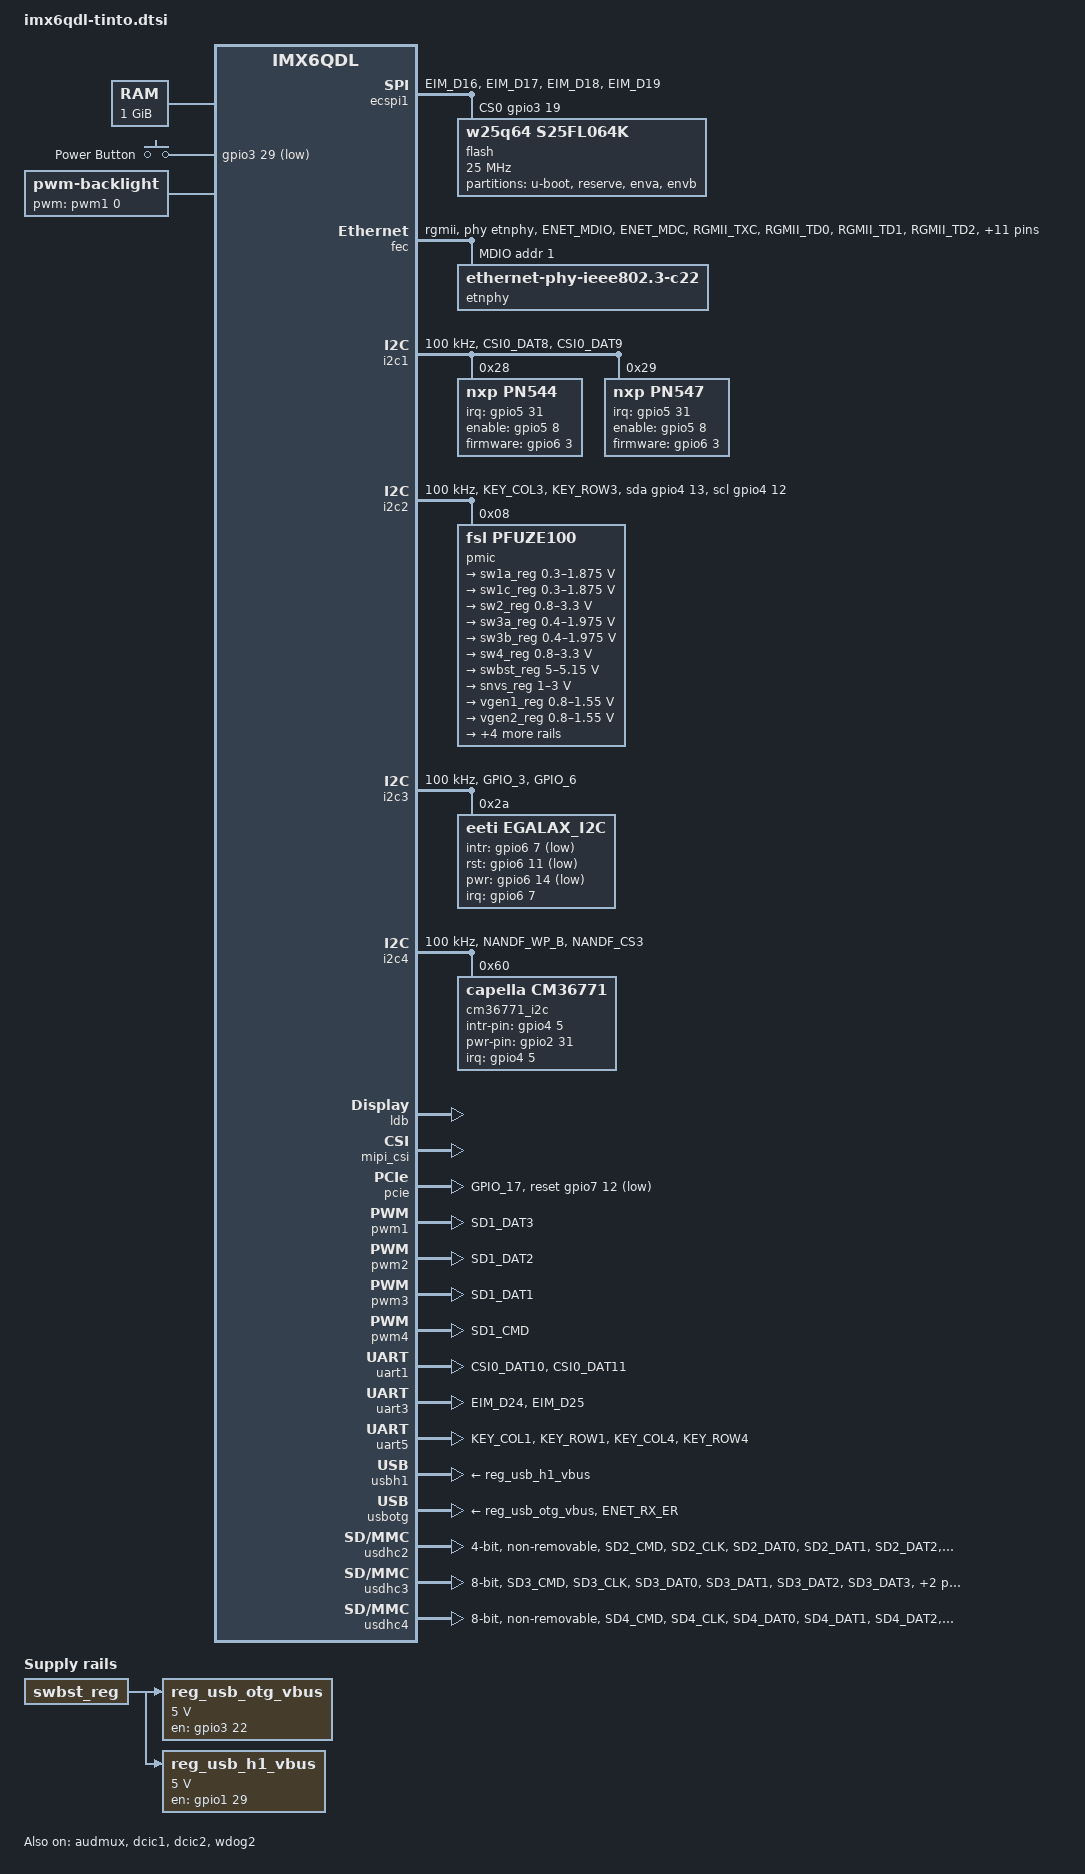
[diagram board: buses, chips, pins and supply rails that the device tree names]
/*
 * Copyright 2012-2016 Freescale Semiconductor, Inc.
 * Copyright 2011 Linaro Ltd.
 * Copyright 2017 NXP.
 *
 * The code contained herein is licensed under the GNU General Public
 * License. You may obtain a copy of the GNU General Public License
 * Version 2 or later at the following locations:
 *
 * http://www.opensource.org/licenses/gpl-license.html
 * http://www.gnu.org/copyleft/gpl.html
 */

#include <dt-bindings/gpio/gpio.h>
#include <dt-bindings/input/input.h>

/ {
	aliases {
		mxcfb0 = &mxcfb1;
		mxcfb1 = &mxcfb2;
		mxcfb2 = &mxcfb3;
		mxcfb3 = &mxcfb4;
		pn544  = &pn544;
                pn547  = &pn547;

	};

	chosen {
		stdout-path = &uart1;
	};

	memory: memory {
		reg = <0x10000000 0x40000000>;
	};

	regulators {
		compatible = "simple-bus";
		#address-cells = <1>;
		#size-cells = <0>;

		reg_usb_otg_vbus: regulator@0 {
			compatible = "regulator-fixed";
			reg = <0>;
			regulator-name = "usb_otg_vbus";
			regulator-min-microvolt = <5000000>;
			regulator-max-microvolt = <5000000>;
			gpio = <&gpio3 22 0>;
			enable-active-high;
			vin-supply = <&swbst_reg>;
		};

		reg_usb_h1_vbus: regulator@1 {
			compatible = "regulator-fixed";
			reg = <1>;
			regulator-name = "usb_h1_vbus";
			regulator-min-microvolt = <5000000>;
			regulator-max-microvolt = <5000000>;
			gpio = <&gpio1 29 0>;
			enable-active-high;
			vin-supply = <&swbst_reg>;
		};
	};

	gpio-keys {
		compatible = "gpio-keys";
		pinctrl-names = "default";
		pinctrl-0 = <&pinctrl_gpio_keys>;

		power {
			label = "Power Button";
			gpios = <&gpio3 29 GPIO_ACTIVE_LOW>;
			wakeup-source;
			linux,code = <KEY_POWER>;
		};
	};

	mxcfb1: fb@0 {
		compatible = "fsl,mxc_sdc_fb";
		disp_dev = "ldb";
		interface_pix_fmt = "RGB666";
		default_bpp = <16>;
		int_clk = <0>;
		late_init = <0>;
		status = "disabled";
	};

	mxcfb2: fb@1 {
		compatible = "fsl,mxc_sdc_fb";
		disp_dev = "hdmi";
		interface_pix_fmt = "RGB24";
		mode_str ="1920x1080M@60";
		default_bpp = <24>;
		int_clk = <0>;
		late_init = <0>;
		status = "disabled";
	};

	mxcfb3: fb@2 {
		compatible = "fsl,mxc_sdc_fb";
		disp_dev = "lcd";
		interface_pix_fmt = "RGB565";
		mode_str ="CLAA-WVGA";
		default_bpp = <16>;
		int_clk = <0>;
		late_init = <0>;
		status = "disabled";
	};

	mxcfb4: fb@3 {
		compatible = "fsl,mxc_sdc_fb";
		disp_dev = "ldb";
		interface_pix_fmt = "RGB666";
		default_bpp = <16>;
		int_clk = <0>;
		late_init = <0>;
		status = "disabled";
	};

        backlight {
                compatible = "pwm-backlight";
                pwms = <&pwm1 0 100000>; /* TI driver need range between 5k to 100k, set as 10k */
                brightness-levels = <0 4 8 16 32 64 128 255>;
                default-brightness-level = <7>;
                status = "okay";
        };

	v4l2_cap_0 {
		compatible = "fsl,imx6q-v4l2-capture";
		ipu_id = <0>;
		csi_id = <0>;
		mclk_source = <0>;
		status = "okay";
	};

	v4l2_cap_1 {
		compatible = "fsl,imx6q-v4l2-capture";
		ipu_id = <0>;
		csi_id = <1>;
		mclk_source = <0>;
		status = "okay";
	};

	v4l2_out {
		compatible = "fsl,mxc_v4l2_output";
		status = "okay";
	};
};

&audmux {
	pinctrl-names = "default";
	pinctrl-0 = <&pinctrl_audmux>;
	status = "okay";
};

&clks {
	assigned-clocks = <&clks IMX6QDL_CLK_LDB_DI0_SEL>,
			  <&clks IMX6QDL_CLK_LDB_DI1_SEL>;
	assigned-clock-parents = <&clks IMX6QDL_CLK_PLL2_PFD0_352M>,
				 <&clks IMX6QDL_CLK_PLL2_PFD0_352M>;
};

&clks {
};

&ecspi1 {
	fsl,spi-num-chipselects = <1>;
	cs-gpios = <&gpio3 19 0>;
	pinctrl-names = "default";
	pinctrl-0 = <&pinctrl_ecspi1>;
	status = "okay";

	flash: m25p80@0 {
		#address-cells = <1>;
		#size-cells = <1>;
		compatible = "w25q64,s25fl064k";
		spi-max-frequency = <25000000>;
		reg = <0>;

		partition@0 {
			label = "u-boot";
			reg = <0x00000000 0x00080000>;
		};
		partition@80000 {
			label = "reserve";
			reg = <0x00080000 0x00080000>;
		};

        partition@100000 {
			label = "enva";
			reg = <0x00100000 0x00010000>;
		};

		partition@110000 {
			label = "envb";
			reg = <0x00110000 0x00010000>;
		};
	};
};

&fec {
	pinctrl-names = "default";
	pinctrl-0 = <&pinctrl_enet>;
	phy-mode = "rgmii";
	phy-reset-gpios = <&gpio1 25 0>;
	fsl,magic-packet;
	status = "okay";
        phy-handle = <&etnphy>;
        mdio {
                #address-cells = <1>;
                #size-cells = <0>;
                etnphy: ethernet-phy@0 {
                        compatible = "ethernet-phy-ieee802.3-c22";
                        reg = <1>;
                        max-speed = <1000>;
                        };
        };

};

&gpc {
	fsl,ldo-bypass = <1>;
};

&dcic1 {
	dcic_id = <0>;
	dcic_mux = "dcic-hdmi";
	status = "okay";
};

&dcic2 {
	dcic_id = <1>;
	dcic_mux = "dcic-lvds1";
	status = "okay";
};

&i2c1 {
	clock-frequency = <100000>;
	pinctrl-names = "default";
	pinctrl-0 = <&pinctrl_i2c1>;
	status = "okay";

        /* nfc */
        pn544: nxp_pn544@28 {
                compatible = "nxp,pn544";
                reg = <0x28>;
                interrupt-parent = <&gpio5>;
                interrupts = <31 GPIO_ACTIVE_HIGH>;
                irq-gpios = <&gpio5 31 IRQ_TYPE_EDGE_RISING>;
                enable-gpios = <&gpio5 8 GPIO_ACTIVE_HIGH>;
                firmware-gpios = <&gpio6 3 GPIO_ACTIVE_HIGH>;
                status = "okay";
               };

        pn547: pn547@29 {
                compatible = "nxp,pn547";
                reg = <0x29>;
                /* clock-frequency = <400000>; */
                interrupt-parnet=<&gpio5>;
                interrupts = <31 GPIO_ACTIVE_HIGH>;
                /* interrupts = <&gpio5 31 IRQ_TYPE_EDGE_RISING>; */
                irq-gpios = <&gpio5 31 IRQ_TYPE_EDGE_RISING>;
                enable-gpios = <&gpio5 8 GPIO_ACTIVE_HIGH>; /* ven & pwr */
	        firmware-gpios = <&gpio6 3 GPIO_ACTIVE_HIGH>;
                /* power GPIO1_IO5 */
                /* status = "disabled"; */
                status = "okay";
        };

};

&i2c2 {
	clock-frequency = <100000>;
	pinctrl-names = "default", "gpio";
	pinctrl-0 = <&pinctrl_i2c2>;
	pinctrl-1 = <&pinctrl_i2c2_gpio>;
	scl-gpios = <&gpio4 12 GPIO_ACTIVE_HIGH>;
	sda-gpios = <&gpio4 13 GPIO_ACTIVE_HIGH>;
	status = "okay";
	
	pmic: pfuze100@08 {
		compatible = "fsl,pfuze100";
		reg = <0x08>;

		regulators {
			sw1a_reg: sw1ab {
				regulator-min-microvolt = <300000>;
				regulator-max-microvolt = <1875000>;
				regulator-boot-on;
				regulator-always-on;
				regulator-ramp-delay = <6250>;
			};

			sw1c_reg: sw1c {
				regulator-min-microvolt = <300000>;
				regulator-max-microvolt = <1875000>;
				regulator-boot-on;
				regulator-always-on;
				regulator-ramp-delay = <6250>;
			};

			sw2_reg: sw2 {
				regulator-min-microvolt = <800000>;
				regulator-max-microvolt = <3300000>;
				regulator-boot-on;
				regulator-always-on;
				regulator-ramp-delay = <6250>;
			};

			sw3a_reg: sw3a {
				regulator-min-microvolt = <400000>;
				regulator-max-microvolt = <1975000>;
				regulator-boot-on;
				regulator-always-on;
			};

			sw3b_reg: sw3b {
				regulator-min-microvolt = <400000>;
				regulator-max-microvolt = <1975000>;
				regulator-boot-on;
				regulator-always-on;
			};

			sw4_reg: sw4 {
				regulator-min-microvolt = <800000>;
				regulator-max-microvolt = <3300000>;
				regulator-always-on;
			};

			swbst_reg: swbst {
				regulator-min-microvolt = <5000000>;
				regulator-max-microvolt = <5150000>;
			};

			snvs_reg: vsnvs {
				regulator-min-microvolt = <1000000>;
				regulator-max-microvolt = <3000000>;
				regulator-boot-on;
				regulator-always-on;
			};

			vref_reg: vrefddr {
				regulator-boot-on;
				regulator-always-on;
			};

			vgen1_reg: vgen1 {
				regulator-min-microvolt = <800000>;
				regulator-max-microvolt = <1550000>;
			};

			vgen2_reg: vgen2 {
				regulator-min-microvolt = <800000>;
				regulator-max-microvolt = <1550000>;
			};

			vgen3_reg: vgen3 {
				regulator-min-microvolt = <1800000>;
				regulator-max-microvolt = <3300000>;
			};

			vgen4_reg: vgen4 {
				regulator-min-microvolt = <1800000>;
				regulator-max-microvolt = <3300000>;
				regulator-always-on;
			};

			vgen5_reg: vgen5 {
				regulator-min-microvolt = <1800000>;
				regulator-max-microvolt = <3300000>;
				regulator-always-on;
			};

			vgen6_reg: vgen6 {
				regulator-min-microvolt = <1800000>;
				regulator-max-microvolt = <3300000>;
				regulator-always-on;
			};
		};
	};
};

&i2c3 {
	clock-frequency = <100000>;
	pinctrl-names = "default";
	pinctrl-0 = <&pinctrl_i2c3>;
	status = "okay";

        egalax_i2c@2a {
                compatible = "eeti,egalax_i2c";
                reg = <0x2a>;
                interrupt-parent = <&gpio6>;
                interrupts = <7 IRQ_TYPE_EDGE_FALLING>;
                intr-gpio = <&gpio6 7 1>;
                rst-gpio = <&gpio6 11 1>;
                pwr-gpio = <&gpio6 14 1>;

        };
};

&i2c4 {
        clock-frequency = <100000>;
        pinctrl-names = "default";
        pinctrl-0 = <&pinctrl_i2c4>;
        status = "okay";

        cm36771_i2c@60 {
                compatible = "capella,cm36771";
                reg = <0x60>;
                interrupt-parent = <&gpio4>;
                interrupts = <5 2>;
                intr-pin = <&gpio4 5 0>;
                pwr-pin = <&gpio2 31 0>;
        };
};

&iomuxc {
	pinctrl-names = "default";
	pinctrl-0 = <&pinctrl_hog>;

	imx6qdl-sabresd {
		pinctrl_hog: hoggrp {
			fsl,pins = <
                                MX6QDL_PAD_SD3_DAT4__GPIO7_IO01         0x80000000 // TP14
                                MX6QDL_PAD_SD3_DAT5__GPIO7_IO00         0x80000000 // TP15
                                MX6QDL_PAD_SD3_DAT6__GPIO6_IO18         0x80000000 // TP13
                                MX6QDL_PAD_SD3_DAT7__GPIO6_IO17         0x80000000 // TP16
                                MX6QDL_PAD_SD3_RST__GPIO7_IO08          0x80000000 // TP18
                                MX6QDL_PAD_ENET_TXD1__GPIO1_IO29        0x80000000 // USB_H1_PWR_EN
                                MX6QDL_PAD_ENET_CRS_DV__GPIO1_IO25      0x80000000 // RGMII_nRST
                                MX6QDL_PAD_KEY_COL0__GPIO4_IO06         0x80000000 // BT_WAKUP_B
                                MX6QDL_PAD_KEY_ROW0__GPIO4_IO07         0x80000000 // TP12
                                MX6QDL_PAD_KEY_COL2__GPIO4_IO10         0x80000000 // LCD_STBYB
                                MX6QDL_PAD_KEY_ROW2__GPIO4_IO11         0x80000000 // BT_RESET
                                MX6QDL_PAD_GPIO_0__CCM_CLKO1            0x130b0
                                MX6QDL_PAD_GPIO_2__GPIO1_IO02           0x80000000 // BT_HOST_WAKEUP_B
                                MX6QDL_PAD_GPIO_4__GPIO1_IO04           0x80000000 // WLAN_PWREN#
                                MX6QDL_PAD_GPIO_5__GPIO1_IO05           0x80000000 // NFC_PWREN
                                MX6QDL_PAD_GPIO_7__GPIO1_IO07           0x80000000 // LED_GREEN
                                MX6QDL_PAD_GPIO_8__GPIO1_IO08           0x80000000 // LED_RED
                                MX6QDL_PAD_GPIO_9__GPIO1_IO09           0x80000000 // LED_YELLOW
                                MX6QDL_PAD_GPIO_17__GPIO7_IO12          0x80000000 // WL_RESET
                                MX6QDL_PAD_GPIO_18__GPIO7_IO13          0x80000000 // PMIC_INT_B
                                MX6QDL_PAD_GPIO_19__GPIO4_IO05          0x80000000 // SENSOR_INT
                                MX6QDL_PAD_NANDF_CS0__GPIO6_IO11        0x80000000 // TOUCH_RST
                                MX6QDL_PAD_NANDF_CS1__GPIO6_IO14        0x80000000 // TOUCH_EN
                                MX6QDL_PAD_NANDF_CS2__GPIO6_IO15        0x80000000 // TOUCH_MODE_SW
                                MX6QDL_PAD_NANDF_ALE__GPIO6_IO08        0x80000000 // LCD_APWR_EN
                                MX6QDL_PAD_NANDF_CLE__GPIO6_IO07        0x80000000 // TOUCH_INT
                                MX6QDL_PAD_NANDF_RB0__GPIO6_IO10        0x80000000 // AUX_5V_EN
                                MX6QDL_PAD_NANDF_D0__GPIO2_IO00         0x80000000 // SD3_CD_B
                                MX6QDL_PAD_NANDF_D1__GPIO2_IO01         0x80000000 // SD3_WP
                                MX6QDL_PAD_NANDF_D2__GPIO2_IO02         0x80000000 // SD2_CD_B
                                MX6QDL_PAD_NANDF_D3__GPIO2_IO03         0x80000000 // SD2_WP
                                MX6QDL_PAD_NANDF_D4__GPIO2_IO04         0x80000000 // TP51
                                MX6QDL_PAD_NANDF_D5__GPIO2_IO05         0X80000000 // TP49
                                MX6QDL_PAD_NANDF_D6__GPIO2_IO06         0x80000000 // TP19
                                MX6QDL_PAD_NANDF_D7__GPIO2_IO07         0x80000000 // TP50
                                MX6QDL_PAD_CSI0_DATA_EN__GPIO5_IO20     0x80000000 // WIFI_AWAKE_B
                                MX6QDL_PAD_CSI0_DAT13__GPIO5_IO31       0x80000000 // NFC_IRQ
                                MX6QDL_PAD_CSI0_DAT17__GPIO6_IO03       0x80000000 // NFC_FW_UG
                                MX6QDL_PAD_CSI0_DAT19__GPIO6_IO05       0x80000000 // TP39
                                MX6QDL_PAD_EIM_D22__GPIO3_IO22          0x80000000 // USB_OTG_PWR_EN
                                MX6QDL_PAD_EIM_D30__USB_H1_OC           0x80000000 // USB_OTG_OC
                                MX6QDL_PAD_EIM_EB3__GPIO2_IO31          0x80000000 // SENSOR_PWR_EN
                                MX6QDL_PAD_DISP0_DAT18__GPIO5_IO12      0x80000000 // SPINOR_WP
                                MX6QDL_PAD_DISP0_DAT14__GPIO5_IO08      0x80000000 // NFC_VEN
                                MX6QDL_PAD_DISP0_DAT17__GPIO5_IO11      0x80000000 // BOARD_ID0
                                MX6QDL_PAD_DISP0_DAT22__GPIO5_IO16      0x80000000 // BOARD_ID1
                                MX6QDL_PAD_DISP0_DAT23__GPIO5_IO17      0x80000000 // BOARD_ID2

			>;
		};

		pinctrl_audmux: audmuxgrp {
			fsl,pins = <
				MX6QDL_PAD_CSI0_DAT7__AUD3_RXD		0x130b0
				MX6QDL_PAD_CSI0_DAT4__AUD3_TXC		0x130b0
				MX6QDL_PAD_CSI0_DAT5__AUD3_TXD		0x110b0
				MX6QDL_PAD_CSI0_DAT6__AUD3_TXFS		0x130b0
			>;
		};

		pinctrl_ecspi1: ecspi1grp {
			fsl,pins = <
                                MX6QDL_PAD_EIM_D16__ECSPI1_SCLK         0x100b1
                                MX6QDL_PAD_EIM_D17__ECSPI1_MISO         0x100b1
                                MX6QDL_PAD_EIM_D18__ECSPI1_MOSI         0x100b1
				MX6QDL_PAD_EIM_D19__GPIO3_IO19          0x100b1 // ECSPI1_SS1
			>;
		};

		pinctrl_enet: enetgrp {
			fsl,pins = <
				MX6QDL_PAD_ENET_MDIO__ENET_MDIO		0x1b0b0
				MX6QDL_PAD_ENET_MDC__ENET_MDC		0x1b0b0
				MX6QDL_PAD_RGMII_TXC__RGMII_TXC		0x1b030
				MX6QDL_PAD_RGMII_TD0__RGMII_TD0		0x1b030
				MX6QDL_PAD_RGMII_TD1__RGMII_TD1		0x1b030
				MX6QDL_PAD_RGMII_TD2__RGMII_TD2		0x1b030
				MX6QDL_PAD_RGMII_TD3__RGMII_TD3		0x1b030
				MX6QDL_PAD_RGMII_TX_CTL__RGMII_TX_CTL	0x1b030
				MX6QDL_PAD_ENET_REF_CLK__ENET_TX_CLK	0x1b0b0
				MX6QDL_PAD_RGMII_RXC__RGMII_RXC		0x1b030
				MX6QDL_PAD_RGMII_RD0__RGMII_RD0		0x1b030
				MX6QDL_PAD_RGMII_RD1__RGMII_RD1		0x1b030
				MX6QDL_PAD_RGMII_RD2__RGMII_RD2		0x1b030
				MX6QDL_PAD_RGMII_RD3__RGMII_RD3		0x1b030
				MX6QDL_PAD_RGMII_RX_CTL__RGMII_RX_CTL	0x1b030
				MX6QDL_PAD_GPIO_16__ENET_REF_CLK	0x4001b0a8
			>;
		};

		pinctrl_enet_irq: enetirqgrp {
			fsl,pins = <
				MX6QDL_PAD_GPIO_6__ENET_IRQ		0x000b1
			>;
		};

		pinctrl_gpio_keys: gpio_keysgrp {
			fsl,pins = <
				MX6QDL_PAD_EIM_D29__GPIO3_IO29 0x1b0b0
			>;
		};

		pinctrl_i2c1: i2c1grp {
			fsl,pins = <
				MX6QDL_PAD_CSI0_DAT8__I2C1_SDA		0x4001b8b1
				MX6QDL_PAD_CSI0_DAT9__I2C1_SCL		0x4001b8b1
			>;
		};

		pinctrl_i2c2: i2c2grp {
			fsl,pins = <
				MX6QDL_PAD_KEY_COL3__I2C2_SCL		0x4001b8b1
				MX6QDL_PAD_KEY_ROW3__I2C2_SDA		0x4001b8b1
			>;
		};

		pinctrl_i2c2_gpio: i2c2_gpio_grp {
			fsl,pins = <
				MX6QDL_PAD_KEY_COL3__GPIO4_IO12		0x1b0b0
				MX6QDL_PAD_KEY_ROW3__GPIO4_IO13		0x1b0b0
			>;
		};

		pinctrl_i2c3: i2c3grp {
			fsl,pins = <
				MX6QDL_PAD_GPIO_3__I2C3_SCL		0x4001b8b1
				MX6QDL_PAD_GPIO_6__I2C3_SDA		0x4001b8b1
			>;
		};

                pinctrl_i2c4: i2c4grp {
                        fsl,pins = <
                                MX6QDL_PAD_NANDF_WP_B__I2C4_SCL         0x4001b8b1
                                MX6QDL_PAD_NANDF_CS3__I2C4_SDA          0x4001b8b1
                        >;
                };

		pinctrl_pcie: pciegrp {
			fsl,pins = <
				MX6QDL_PAD_GPIO_17__GPIO7_IO12	0x1b0b0
			>;
		};

		pinctrl_pwm1: pwm1grp {
			fsl,pins = <
				MX6QDL_PAD_SD1_DAT3__PWM1_OUT		0x1b0b1
			>;
		};

               /* for green led */
                pinctrl_pwm2: pwm2grp {
                        fsl,pins = <
                                MX6QDL_PAD_SD1_DAT2__PWM2_OUT           0x1b0b1
                        >;
                };

                /* for red led */
                pinctrl_pwm3: pwm3grp {
                        fsl,pins = <
                                MX6QDL_PAD_SD1_DAT1__PWM3_OUT           0x1b0b1
                        >;
                };

                /* for white led */
                pinctrl_pwm4: pwm4grp {
                        fsl,pins = <
                                MX6QDL_PAD_SD1_CMD__PWM4_OUT            0x1b0b1
                        >;
                };

		pinctrl_uart1: uart1grp {
			fsl,pins = <
				MX6QDL_PAD_CSI0_DAT10__UART1_TX_DATA	0x1b0b1
				MX6QDL_PAD_CSI0_DAT11__UART1_RX_DATA	0x1b0b1
			>;
		};

                pinctrl_uart3: uart3grp {
                        fsl,pins = <
                                MX6QDL_PAD_EIM_D24__UART3_TX_DATA       0x1b0b1
                                MX6QDL_PAD_EIM_D25__UART3_RX_DATA       0x1b0b1
                        >;
                };

                pinctrl_uart5: uart5grp {
                        fsl,pins = <
                                MX6QDL_PAD_KEY_COL1__UART5_TX_DATA      0x1b0b1
                                MX6QDL_PAD_KEY_ROW1__UART5_RX_DATA      0x1b0b1
                                MX6QDL_PAD_KEY_COL4__UART5_RTS_B        0x1b0b1
                                MX6QDL_PAD_KEY_ROW4__UART5_CTS_B        0x1b0b1
                        >;
                };

		pinctrl_usbotg: usbotggrp {
			fsl,pins = <
				MX6QDL_PAD_ENET_RX_ER__USB_OTG_ID	0x17059
			>;
		};

		pinctrl_usdhc2: usdhc2grp {
			fsl,pins = <
				MX6QDL_PAD_SD2_CMD__SD2_CMD		0x17059
				MX6QDL_PAD_SD2_CLK__SD2_CLK		0x10059
				MX6QDL_PAD_SD2_DAT0__SD2_DATA0		0x17059
				MX6QDL_PAD_SD2_DAT1__SD2_DATA1		0x17059
				MX6QDL_PAD_SD2_DAT2__SD2_DATA2		0x17059
				MX6QDL_PAD_SD2_DAT3__SD2_DATA3		0x17059
			>;
		};

		pinctrl_usdhc3: usdhc3grp {
			fsl,pins = <
				MX6QDL_PAD_SD3_CMD__SD3_CMD		0x17059
				MX6QDL_PAD_SD3_CLK__SD3_CLK		0x10059
				MX6QDL_PAD_SD3_DAT0__SD3_DATA0		0x17059
				MX6QDL_PAD_SD3_DAT1__SD3_DATA1		0x17059
				MX6QDL_PAD_SD3_DAT2__SD3_DATA2		0x17059
				MX6QDL_PAD_SD3_DAT3__SD3_DATA3		0x17059
			>;
		};

		pinctrl_usdhc4: usdhc4grp {
			fsl,pins = <
				MX6QDL_PAD_SD4_CMD__SD4_CMD		0x17059
				MX6QDL_PAD_SD4_CLK__SD4_CLK		0x10059
				MX6QDL_PAD_SD4_DAT0__SD4_DATA0		0x17059
				MX6QDL_PAD_SD4_DAT1__SD4_DATA1		0x17059
				MX6QDL_PAD_SD4_DAT2__SD4_DATA2		0x17059
				MX6QDL_PAD_SD4_DAT3__SD4_DATA3		0x17059
				MX6QDL_PAD_SD4_DAT4__SD4_DATA4		0x17059
				MX6QDL_PAD_SD4_DAT5__SD4_DATA5		0x17059
				MX6QDL_PAD_SD4_DAT6__SD4_DATA6		0x17059
				MX6QDL_PAD_SD4_DAT7__SD4_DATA7		0x17059
			>;
		};

		pinctrl_wdog: wdoggrp {
			fsl,pins = <
				MX6QDL_PAD_GPIO_1__WDOG2_B 0x80000000
			>;
		};
	};

	gpio_leds {
		pinctrl_gpio_leds: gpioledsgrp {
			fsl,pins = <
				MX6QDL_PAD_GPIO_2__GPIO1_IO02 0x1b0b0
			>;
		};
	};
};

&ldb {
        status = "okay";

        lvds-channel@0 {
                fsl,data-mapping = "spwg";
                fsl,data-width = <24>;
                status = "disabled";

                display-timings {
                        native-mode = <&timing0>;
                        timing0: hsd100pxn1 {
                                clock-frequency = <65000000>;
                                hactive = <1024>;
                                vactive = <768>;
                                hback-porch = <220>;
                                hfront-porch = <40>;
                                vback-porch = <21>;
                                vfront-porch = <7>;
                                hsync-len = <60>;
                                vsync-len = <10>;
                        };
                };
        };

        lvds-channel@1 {
                fsl,data-mapping = "spwg";
                fsl,data-width = <24>;
                primary;
                status = "okay";

                vcc-gpio = <&gpio6 8 GPIO_ACTIVE_HIGH>;
                vcc-powerup-delay-ms = <100>;

                display-timings {
                        native-mode = <&timing1>;
                        timing1: hsd100pxn1 {
                                clock-frequency = <65000000>;
                                hactive = <1024>;
                                vactive = <768>;
                                hback-porch = <220>;
                                hfront-porch = <40>;
                                vback-porch = <21>;
                                vfront-porch = <7>;
                                hsync-len = <60>;
                                vsync-len = <10>;
                        };
                };
        };
};

&mipi_csi {
	status = "okay";
	ipu_id = <0>;
	csi_id = <1>;
	v_channel = <0>;
	lanes = <2>;
};

&pcie {
	pinctrl-names = "default";
	pinctrl-0 = <&pinctrl_pcie>;
	reset-gpio = <&gpio7 12 GPIO_ACTIVE_LOW>;
	status = "okay";
};

&pwm1 {
	pinctrl-names = "default";
	pinctrl-0 = <&pinctrl_pwm1>;
	status = "okay";
};

/* for green led */
&pwm2 {
        pinctrl-names = "default";
        pinctrl-0 = <&pinctrl_pwm2>;
        status = "okay";
};

/* for red led */
&pwm3 {
        pinctrl-names = "default";
        pinctrl-0 = <&pinctrl_pwm3>;
        status = "okay";
};

/* for white led */
&pwm4 {
        pinctrl-names = "default";
        pinctrl-0 = <&pinctrl_pwm4>;
        status = "okay";
};

&reg_arm {
       vin-supply = <&sw1a_reg>;
};

&reg_pu {
       vin-supply = <&sw1c_reg>;
};

&reg_soc {
       vin-supply = <&sw1c_reg>;
};

&snvs_poweroff {
	status = "okay";
};

&ssi2 {
	assigned-clocks = <&clks IMX6QDL_CLK_PLL4>,
			  <&clks IMX6QDL_PLL4_BYPASS>,
			  <&clks IMX6QDL_CLK_SSI2_SEL>;
	assigned-clock-parents = <&clks IMX6QDL_CLK_OSC>,
				 <&clks IMX6QDL_CLK_PLL4>,
				 <&clks IMX6QDL_CLK_PLL4_AUDIO_DIV>;
	assigned-clock-rates = <737280000>, <0>, <0>;
	status = "disabled";
};

&uart1 {
	pinctrl-names = "default";
	pinctrl-0 = <&pinctrl_uart1>;
	status = "okay";
};

/* for testing purpose */
&uart3 {
        pinctrl-names = "default";
        pinctrl-0 = <&pinctrl_uart3>;
        fsl,uart-has-rtscts;
        status = "okay";
};

/* for BT */
&uart5 {
        pinctrl-names = "default";
        pinctrl-0 = <&pinctrl_uart5>;
        fsl,uart-has-rtscts;
        status = "okay";
};


&usbh1 {
	vbus-supply = <&reg_usb_h1_vbus>;
	status = "okay";
};

&usbotg {
	vbus-supply = <&reg_usb_otg_vbus>;
	pinctrl-names = "default";
	pinctrl-0 = <&pinctrl_usbotg>;
	disable-over-current;
	srp-disable;
	hnp-disable;
	adp-disable;
	status = "okay";
};

&usbphy1 {
	tx-d-cal = <0x5>;
};

&usbphy2 {
	tx-d-cal = <0x5>;
};

&usdhc2 {
	pinctrl-names = "default";
	pinctrl-0 = <&pinctrl_usdhc2>;
        bus-width = <4>;
        wifi-host;
        wifi-power = <&gpio1 4 0>;
        wifi-reset = <&gpio7 12 0>;
        bt-reset = <&gpio4 11 0>;
        non-removable;
        keep-power-in-suspend;
        enable-sdio-wakeup;
        status = "okay";
};

&usdhc3 {
	pinctrl-names = "default";
	pinctrl-0 = <&pinctrl_usdhc3>;
	bus-width = <8>;
	cd-gpios = <&gpio2 0 GPIO_ACTIVE_LOW>;
	wp-gpios = <&gpio2 1 GPIO_ACTIVE_HIGH>;
	no-1-8-v;
	keep-power-in-suspend;
	enable-sdio-wakeup;
	status = "okay";
};

&usdhc4 {
	pinctrl-names = "default";
	pinctrl-0 = <&pinctrl_usdhc4>;
	bus-width = <8>;
	non-removable;
	no-1-8-v;
	keep-power-in-suspend;
	status = "okay";
};

&wdog1 {
	status = "disabled";
};

&wdog2 {
	pinctrl-names = "default";
	pinctrl-0 = <&pinctrl_wdog>;
	fsl,ext-reset-output;
	status = "okay";
};
